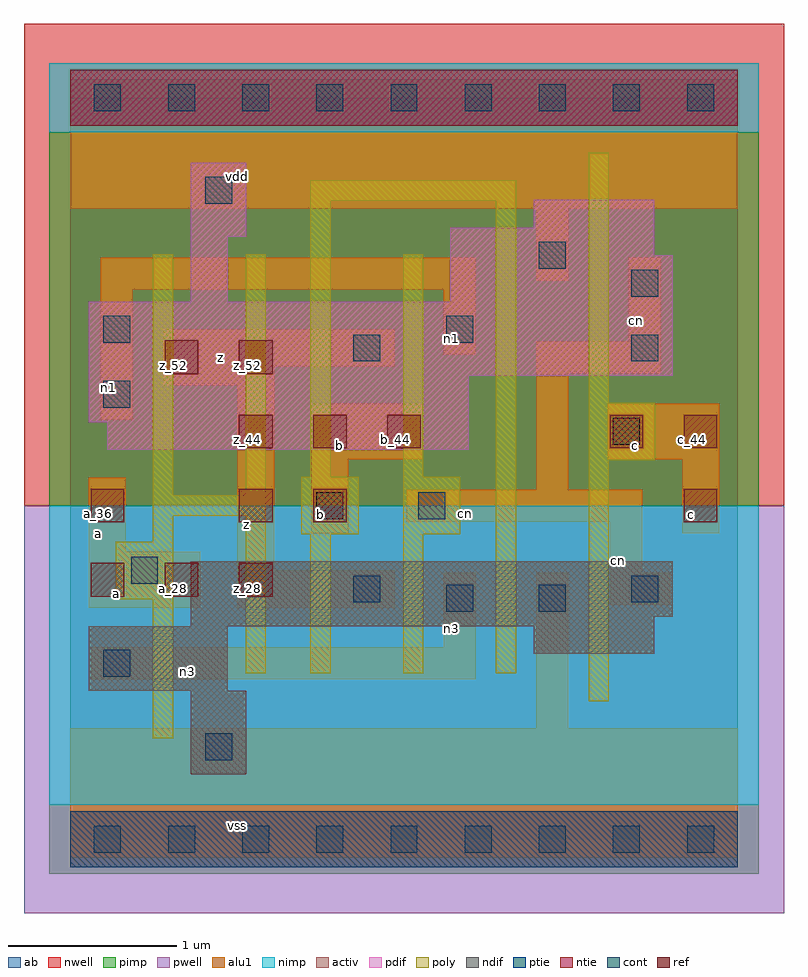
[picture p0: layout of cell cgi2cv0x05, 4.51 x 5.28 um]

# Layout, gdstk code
import gdstk
lib = gdstk.Library(unit=1e-6, precision=2.5e-09)
def R(c, l, rs):  # rectangles x0, y0, x1, y1
    for r in rs: c.add(gdstk.rectangle(r[:2], r[2:], *l))
def A(c, l, x, y, w, h, nx, ny, dx, dy):  # array of equal rectangles
    R(c, l, [(x+i*dx, y+j*dy, x+i*dx+w, y+j*dy+h) for i in range(nx) for j in range(ny)])
ndif = (3, 0)
pdif = (4, 0)
ntie = (5, 0)
ptie = (6, 0)
ref = (24, 0)
cont = (25, 0)
pwell = (41, 0)
nwell = (42, 0)
activ = (43, 0)
pimp = (44, 0)
nimp = (45, 0)
poly = (46, 0)
alu1 = (49, 0)
ab = (63, 0)

cgi2cv0x05 = lib.new_cell('cgi2cv0x05')
R(cgi2cv0x05, ndif, [(0.715,0.385,1.045,0.88), (0.11,0.88,0.935,1.265), (2.75,1.1,3.465,1.265), (0.715,1.265,3.465,1.32), (0.715,1.32,3.575,1.65)])
R(cgi2cv0x05, pdif, [(0.22,2.31,2.365,2.475), (0.11,2.475,2.365,2.75), (0.11,2.75,3.575,3.19), (0.715,3.19,0.935,3.575), (2.255,3.19,3.575,3.465), (2.255,3.465,3.465,3.63), (0.715,3.575,1.045,4.015), (2.75,3.63,3.465,3.795)])
R(cgi2cv0x05, ntie, [(0,4.235,3.96,4.565)])
R(cgi2cv0x05, ptie, [(0,-0.165,3.96,0.165)])
A(cgi2cv0x05, ref, 0.12, 1.44, 0.2, 0.2, 3, 1, 0.44, 0)
A(cgi2cv0x05, ref, 1, 2.32, 0.2, 0.2, 3, 1, 0.44, 0)
R(cgi2cv0x05, ref, [(0.12,1.88,0.32,2.08), (1,1.88,1.2,2.08), (1.44,1.88,1.64,2.08), (3.64,1.88,3.84,2.08), (3.2,2.32,3.4,2.52), (3.64,2.32,3.84,2.52), (0.56,2.76,0.76,2.96), (1,2.76,1.2,2.96)])
A(cgi2cv0x05, cont, 0.14, -0.08, 0.16, 0.16, 9, 2, 0.44, 4.4)
R(cgi2cv0x05, cont, [(0.8,0.47,0.96,0.63), (0.195,0.965,0.355,1.125), (2.23,1.35,2.39,1.51), (2.78,1.35,2.94,1.51), (1.68,1.405,1.84,1.565), (3.33,1.405,3.49,1.565), (0.36,1.515,0.52,1.675), (1.46,1.9,1.62,2.06), (2.065,1.9,2.225,2.06), (3.22,2.34,3.38,2.5), (0.195,2.56,0.355,2.72), (1.68,2.835,1.84,2.995), (3.33,2.835,3.49,2.995), (0.195,2.945,0.355,3.105), (2.23,2.945,2.39,3.105), (3.33,3.22,3.49,3.38), (2.78,3.385,2.94,3.545), (0.8,3.77,0.96,3.93)])
R(cgi2cv0x05, pwell, [(-0.275,-0.44,4.235,1.98)])
R(cgi2cv0x05, nwell, [(-0.275,1.98,4.235,4.84)])
R(cgi2cv0x05, activ, [(0,-0.165,3.96,0.165), (0.715,0.385,1.045,0.88), (0.11,0.88,0.935,1.265), (2.75,1.1,3.465,1.265), (0.715,1.265,3.465,1.32), (0.715,1.32,3.575,1.65), (0.22,2.31,2.365,2.475), (0.11,2.475,2.365,2.75), (0.11,2.75,3.575,3.19), (0.715,3.19,0.935,3.575), (2.255,3.19,3.575,3.465), (2.255,3.465,3.465,3.63), (0.715,3.575,1.045,4.015), (2.75,3.63,3.465,3.795), (0,4.235,3.96,4.565)])
R(cgi2cv0x05, pimp, [(-0.125,-0.205,4.085,0.205), (-0.125,1.98,4.085,4.195)])
R(cgi2cv0x05, nimp, [(-0.125,0.205,4.085,1.98), (-0.125,4.195,4.085,4.605)])
R(cgi2cv0x05, poly, [(0.49,0.6,0.61,1.425), (3.075,0.82,3.195,2.25), (1.04,0.985,1.16,1.92), (1.425,0.985,1.545,1.81), (1.975,0.985,2.095,1.81), (2.525,0.985,2.645,3.79), (0.27,1.425,0.61,1.765), (0.49,1.765,0.61,1.92), (1.37,1.81,1.71,2.15), (1.975,1.81,2.315,2.15), (0.49,1.92,1.16,2.04), (0.49,2.04,0.61,3.47), (1.04,2.04,1.16,3.47), (1.425,2.15,1.545,3.79), (1.975,2.15,2.095,3.47), (3.075,2.25,3.47,2.59), (3.075,2.59,3.195,4.075), (1.425,3.79,2.645,3.91)])
R(cgi2cv0x05, alu1, [(0,-0.11,3.96,0.66), (2.765,0.66,2.955,1.58), (0.125,0.95,2.405,1.14), (2.215,1.14,2.405,1.58), (0.11,1.375,0.77,1.705), (0.99,1.375,1.925,1.595), (3.205,1.39,3.56,1.58), (3.205,1.58,3.395,1.885), (0.99,1.595,1.21,2.695), (0.11,1.705,0.33,2.145), (1.43,1.815,1.65,2.255), (3.63,1.815,3.85,2.255), (1.995,1.885,3.395,2.075), (2.765,2.075,2.955,2.765), (1.43,2.255,2.09,2.585), (3.19,2.255,3.85,2.585), (0.18,2.49,0.37,3.26), (0.55,2.695,1.21,2.805), (2.765,2.765,3.505,2.955), (0.55,2.805,1.925,3.025), (2.215,2.875,2.405,3.26), (3.315,2.955,3.505,3.45), (0.18,3.26,2.405,3.45), (2.765,3.315,2.955,3.74), (0,3.74,3.96,4.51)])
R(cgi2cv0x05, ab, [(0,0,3.96,4.4)])
cgi2cv0x05.add(gdstk.Label('vss', (0.99,0.0825), layer=49, texttype=0))
cgi2cv0x05.add(gdstk.Label('n3', (0.695,0.9975), layer=49, texttype=0))
cgi2cv0x05.add(gdstk.Label('n3', (2.2625,1.25), layer=49, texttype=0))
cgi2cv0x05.add(gdstk.Label('c', (3.685,1.925), layer=49, texttype=0))
cgi2cv0x05.add(gdstk.Label('cn', (3.2525,1.655), layer=49, texttype=0))
cgi2cv0x05.add(gdstk.Label('cn', (2.345,1.9325), layer=49, texttype=0))
cgi2cv0x05.add(gdstk.Label('c', (3.355,2.3375), layer=49, texttype=0))
cgi2cv0x05.add(gdstk.Label('b', (1.485,1.925), layer=49, texttype=0))
cgi2cv0x05.add(gdstk.Label('b', (1.595,2.3375), layer=49, texttype=0))
cgi2cv0x05.add(gdstk.Label('z', (1.045,1.87), layer=49, texttype=0))
cgi2cv0x05.add(gdstk.Label('a', (0.275,1.4575), layer=49, texttype=0))
cgi2cv0x05.add(gdstk.Label('a', (0.165,1.815), layer=49, texttype=0))
cgi2cv0x05.add(gdstk.Label('cn', (3.3625,3.0775), layer=49, texttype=0))
cgi2cv0x05.add(gdstk.Label('n1', (2.2625,2.97), layer=49, texttype=0))
cgi2cv0x05.add(gdstk.Label('z', (0.8925,2.86), layer=49, texttype=0))
cgi2cv0x05.add(gdstk.Label('n1', (0.2275,2.6825), layer=49, texttype=0))
cgi2cv0x05.add(gdstk.Label('vdd', (0.99,3.9325), layer=49, texttype=0))
cgi2cv0x05.add(gdstk.Label('c_44', (3.25,2.37), layer=24, texttype=0))
cgi2cv0x05.add(gdstk.Label('c_36', (3.69,1.93), layer=24, texttype=0))
cgi2cv0x05.add(gdstk.Label('b_36', (1.49,1.93), layer=24, texttype=0))
cgi2cv0x05.add(gdstk.Label('b_44', (1.49,2.37), layer=24, texttype=0))
cgi2cv0x05.add(gdstk.Label('b_44', (1.93,2.37), layer=24, texttype=0))
cgi2cv0x05.add(gdstk.Label('c_44', (3.69,2.37), layer=24, texttype=0))
cgi2cv0x05.add(gdstk.Label('a_36', (0.17,1.93), layer=24, texttype=0))
cgi2cv0x05.add(gdstk.Label('a_28', (0.17,1.49), layer=24, texttype=0))
cgi2cv0x05.add(gdstk.Label('z_52', (1.05,2.81), layer=24, texttype=0))
cgi2cv0x05.add(gdstk.Label('z_44', (1.05,2.37), layer=24, texttype=0))
cgi2cv0x05.add(gdstk.Label('z_36', (1.05,1.93), layer=24, texttype=0))
cgi2cv0x05.add(gdstk.Label('z_28', (1.05,1.49), layer=24, texttype=0))
cgi2cv0x05.add(gdstk.Label('z_52', (0.61,2.81), layer=24, texttype=0))
cgi2cv0x05.add(gdstk.Label('a_28', (0.61,1.49), layer=24, texttype=0))

lib.write_gds('cgi2cv0x05.gds')
